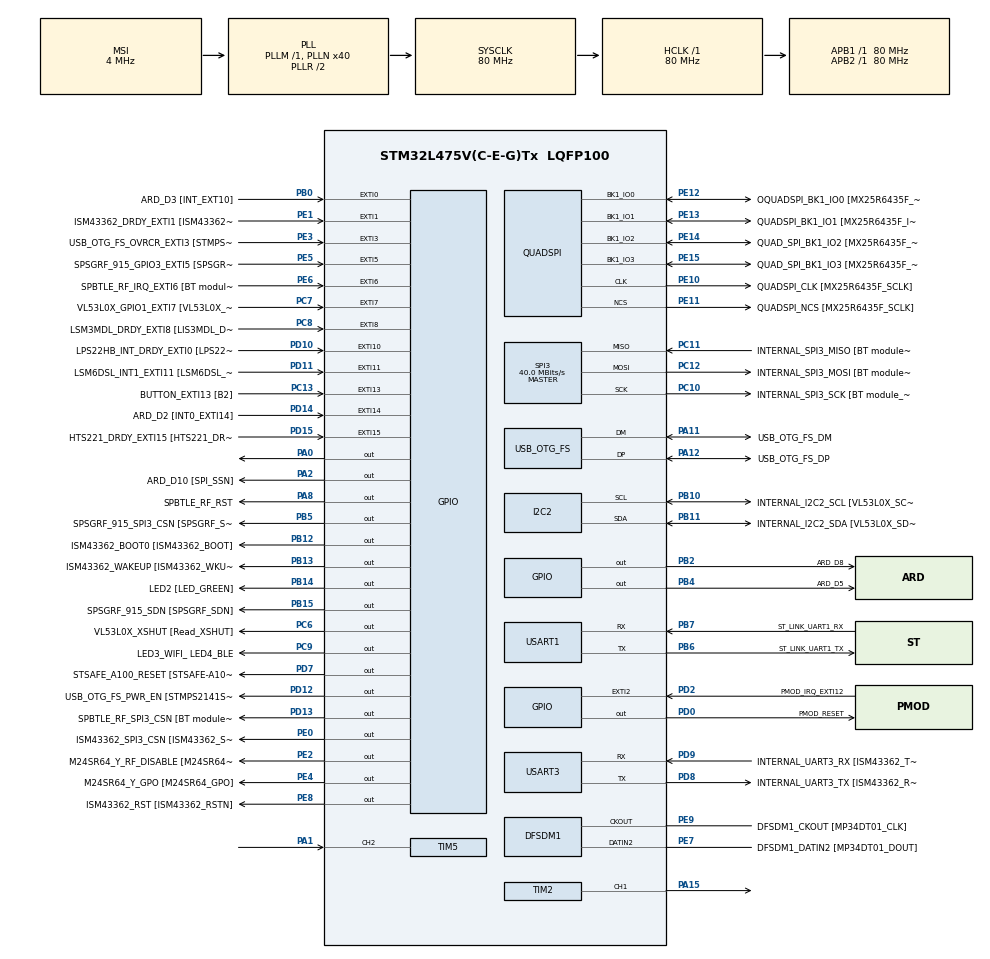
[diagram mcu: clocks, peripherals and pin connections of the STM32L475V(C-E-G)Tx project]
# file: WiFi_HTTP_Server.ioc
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FREERTOS.Tasks01=defaultTask,24,128,StartDefaultTask,Default,NULL,Dynamic,NULL,NULL;myTask02,40,128,StartTask02,Default,NULL,Dynamic,NULL,NULL;myTask03,24,128,StartTask03,Default,NULL,Dynamic,NULL,NULL;myTask04,40,128,StartTask04,Default,NULL,Dynamic,NULL,NULL;myTask05,24,128,StartTask05,Default,NULL,Dynamic,NULL,NULL
FREERTOS.configTOTAL_HEAP_SIZE=10000
Mcu.Family=STM32L4
Mcu.Name=STM32L475V(C-E-G)Tx
Mcu.Package=LQFP100
NVIC.EXTI15_10_IRQn=true\:5\:0\:false\:false\:true\:true\:true\:true\:true
NVIC.EXTI1_IRQn=true\:5\:0\:false\:false\:true\:true\:true\:true\:true
NVIC.EXTI9_5_IRQn=true\:5\:0\:false\:false\:true\:true\:true\:true\:true
NVIC.PriorityGroup=NVIC_PRIORITYGROUP_4
NVIC.TIM1_UP_TIM16_IRQn=true\:5\:0\:false\:false\:true\:true\:true\:true\:true
NVIC.TIM5_IRQn=true\:5\:0\:false\:false\:true\:true\:true\:true\:true
NVIC.TIM6_DAC_IRQn=true\:15\:0\:false\:false\:true\:false\:false\:true\:true
NVIC.TIM7_IRQn=true\:5\:0\:false\:false\:true\:true\:true\:true\:true
NVIC.TimeBase=TIM6_DAC_IRQn
NVIC.TimeBaseIP=TIM6
PA0.Signal=GPIO_Output
PA1.Signal=S_TIM5_CH2
PA10.GPIO_Label=USB_OTG_FS_ID
PA10.Signal=USB_OTG_FS_ID
PA11.GPIO_Label=USB_OTG_FS_DM
PA11.Mode=Device_Only
PA11.Signal=USB_OTG_FS_DM
PA12.GPIO_Label=USB_OTG_FS_DP
PA12.Mode=Device_Only
PA12.Signal=USB_OTG_FS_DP
PA13\ (JTMS-SWDIO).GPIO_Label=SYS_JTMS_SWDIO
PA13\ (JTMS-SWDIO).Mode=Serial_Wire
PA13\ (JTMS-SWDIO).Signal=SYS_JTMS-SWDIO
PA14\ (JTCK-SWCLK).GPIO_Label=SYS_JTCK_SWCLK
PA14\ (JTCK-SWCLK).Mode=Serial_Wire
PA14\ (JTCK-SWCLK).Signal=SYS_JTCK-SWCLK
PA15\ (JTDI).Signal=S_TIM2_CH1
PA2.GPIO_Label=ARD_D10 [SPI_SSN]
PA2.Signal=GPIO_Output
PA3.GPIO_Label=ARD_D4
PA3.Signal=S_TIM2_CH4
PA4.GPIO_Label=ARD_D7
PA4.Signal=ADCx_IN9
PA5.GPIO_Label=ARD_D13 [SPI1_SCK]
PA5.Signal=SPI1_SCK
PA6.GPIO_Label=ARD_D12 [SPI1_MISO]
PA6.Signal=SPI1_MISO
PA7.GPIO_Label=ARD_D11 [SPI1_MOSI]
PA7.Signal=SPI1_MOSI
PA8.GPIO_Label=SPBTLE_RF_RST
PA8.Signal=GPIO_Output
PA9.GPIO_Label=USB_OTG_FS_VBUS [STMPS2141STR_OUT]
PA9.Signal=USB_OTG_FS_VBUS
PB0.GPIO_Label=ARD_D3 [INT_EXT10]
PB0.Signal=GPXTI0
PB1.GPIO_Label=ARD_D6 [ADC1_IN6]
PB1.Signal=ADCx_IN16
PB10.GPIO_Label=INTERNAL_I2C2_SCL [VL53L0X_SCL]
PB10.GPIO_Pu=GPIO_PULLUP
PB10.Mode=I2C
PB10.Signal=I2C2_SCL
PB11.GPIO_Label=INTERNAL_I2C2_SDA [VL53L0X_SDA]
PB11.GPIO_Pu=GPIO_PULLUP
PB11.Mode=I2C
PB11.Signal=I2C2_SDA
PB12.GPIO_Label=ISM43362_BOOT0 [ISM43362_BOOT]
PB12.Signal=GPIO_Output
PB13.GPIO_Label=ISM43362_WAKEUP [ISM43362_WKUP]
PB13.Signal=GPIO_Output
PB14.GPIO_Label=LED2 [LED_GREEN]
PB14.Signal=GPIO_Output
PB15.GPIO_Label=SPSGRF_915_SDN [SPSGRF_SDN]
PB15.Signal=GPIO_Output
PB2.GPIO_Label=ARD_D8
PB2.Signal=GPIO_Output
PB3\ (JTDO-TRACESWO).GPIO_Label=SYS_JTD0_SWO
PB3\ (JTDO-TRACESWO).Signal=SYS_JTDO-SWO
PB4\ (NJTRST).GPIO_Label=ARD_D5
PB4\ (NJTRST).Signal=GPIO_Output
PB5.GPIO_Label=SPSGRF_915_SPI3_CSN [SPSGRF_SPI_CS]
PB5.PinState=GPIO_PIN_SET
PB5.Signal=GPIO_Output
PB6.GPIO_Label=ST_LINK_UART1_TX
PB6.Mode=Asynchronous
PB6.Signal=USART1_TX
PB7.GPIO_Label=ST_LINK_UART1_RX
PB7.Mode=Asynchronous
PB7.Signal=USART1_RX
PB8.GPIO_Label=ARD_D15 [I2C1_SCL]
PB8.Signal=I2C1_SCL
PB9.GPIO_Label=ARD_D14 [I2C1_SDA]
PB9.Signal=I2C1_SDA
PC0.GPIO_Label=ARD_A5 [ADC]
PC0.Signal=ADCx_IN1
PC1.GPIO_Label=ARD_A4 [ADC]
PC1.Signal=ADCx_IN2
PC10.GPIO_Label=INTERNAL_SPI3_SCK [BT module_SPI_SCLK] [ISM43362_SCK]
PC10.Mode=Full_Duplex_Master
PC10.Signal=SPI3_SCK
PC11.GPIO_Label=INTERNAL_SPI3_MISO [BT module_SPI_MISO] [ISM43362_MISO]
PC11.Mode=Full_Duplex_Master
PC11.Signal=SPI3_MISO
PC12.GPIO_Label=INTERNAL_SPI3_MOSI [BT module_SPI_MOSI] [ISM43362_MOSI]
PC12.Mode=Full_Duplex_Master
PC12.Signal=SPI3_MOSI
PC13.GPIO_Label=BUTTON_EXTI13 [B2]
PC13.GPIO_ModeDefaultEXTI=GPIO_MODE_IT_FALLING
PC13.Signal=GPXTI13
PC14-OSC32_IN\ (PC14).Mode=LSE-External-Oscillator
PC14-OSC32_IN\ (PC14).Signal=RCC_OSC32_IN
PC15-OSC32_OUT\ (PC15).Mode=LSE-External-Oscillator
PC15-OSC32_OUT\ (PC15).Signal=RCC_OSC32_OUT
PC2.GPIO_Label=ARD_A3 [ADC]
PC2.Signal=ADCx_IN3
PC3.GPIO_Label=ARD_A2 [ADC]
PC3.Signal=ADCx_IN4
PC4.GPIO_Label=ARD_A1 [ADC]
PC4.Signal=ADCx_IN13
PC5.GPIO_Label=ARD_A0 [ADC]
PC5.Signal=ADCx_IN14
PC6.GPIO_Label=VL53L0X_XSHUT [Read_XSHUT]
PC6.Signal=GPIO_Output
PC7.GPIO_Label=VL53L0X_GPIO1_EXTI7 [VL53L0X_GPIO1]
PC7.Signal=GPXTI7
PC8.GPIO_Label=LSM3MDL_DRDY_EXTI8 [LIS3MDL_DRDY]
PC8.Signal=GPXTI8
PC9.GPIO_Label=LED3_WIFI_ LED4_BLE
PC9.Signal=GPIO_Output
PD0.GPIO_Label=PMOD_RESET
PD0.Signal=GPIO_Output
PD1.GPIO_Label=PMOD_SPI2_SCK
PD1.Signal=SPI2_SCK
PD10.GPIO_Label=LPS22HB_INT_DRDY_EXTI0 [LPS22HB_INT_DRDY] 
PD10.Signal=GPXTI10
PD11.GPIO_Label=LSM6DSL_INT1_EXTI11 [LSM6DSL_INT1]
PD11.Signal=GPXTI11
PD12.GPIO_Label=USB_OTG_FS_PWR_EN [STMPS2141STR_EN]
PD12.Signal=GPIO_Output
PD13.GPIO_Label=SPBTLE_RF_SPI3_CSN [BT module_SPI_CS]
PD13.PinState=GPIO_PIN_SET
PD13.Signal=GPIO_Output
PD14.GPIO_Label=ARD_D2 [INT0_EXTI14]
PD14.Signal=GPXTI14
PD15.GPIO_Label=HTS221_DRDY_EXTI15 [HTS221_DRDY]
PD15.Signal=GPXTI15
PD2.GPIO_Label=PMOD_IRQ_EXTI12
PD2.Signal=GPXTI2
PD3.GPIO_Label=PMOD_UART2_CTS
PD3.Signal=USART2_CTS
PD4.GPIO_Label=PMOD_UART2_RTS
PD4.Signal=USART2_RTS
PD5.GPIO_Label=PMOD_UART2_TX
PD5.Signal=USART2_TX
PD6.GPIO_Label=PMOD_UART2_RX
PD6.Signal=USART2_RX
PD7.GPIO_Label=STSAFE_A100_RESET [STSAFE-A100_RESET]
PD7.Signal=GPIO_Output
PD8.GPIO_Label=INTERNAL_UART3_TX [ISM43362_RX]
PD8.Mode=Asynchronous
PD8.Signal=USART3_TX
PD9.GPIO_Label=INTERNAL_UART3_RX [ISM43362_TX]
PD9.Mode=Asynchronous
PD9.Signal=USART3_RX
PE0.GPIO_Label=ISM43362_SPI3_CSN [ISM43362_SSN]
PE0.PinState=GPIO_PIN_SET
PE0.Signal=GPIO_Output
PE1.GPIO_Label=ISM43362_DRDY_EXTI1 [ISM43362_DATARDY]
PE1.Signal=GPXTI1
PE10.GPIO_Label=QUADSPI_CLK [MX25R6435F_SCLK]
PE10.Mode=Single Bank
PE10.Signal=QUADSPI_CLK
PE11.GPIO_Label=QUADSPI_NCS [MX25R6435F_SCLK]
PE11.Mode=Single Bank
PE11.Signal=QUADSPI_NCS
PE12.GPIO_Label=OQUADSPI_BK1_IO0 [MX25R6435F_IO0]
PE12.Mode=Single Bank
PE12.Signal=QUADSPI_BK1_IO0
PE13.GPIO_Label=QUADSPI_BK1_IO1 [MX25R6435F_IO1]
PE13.Mode=Single Bank
PE13.Signal=QUADSPI_BK1_IO1
PE14.GPIO_Label=QUAD_SPI_BK1_IO2 [MX25R6435F_IO2]
PE14.Mode=Single Bank
PE14.Signal=QUADSPI_BK1_IO2
PE15.GPIO_Label=QUAD_SPI_BK1_IO3 [MX25R6435F_IO3]
PE15.Mode=Single Bank
PE15.Signal=QUADSPI_BK1_IO3
PE2.GPIO_Label=M24SR64_Y_RF_DISABLE [M24SR64_RFDIS]
PE2.Signal=GPIO_Output
PE3.GPIO_Label=USB_OTG_FS_OVRCR_EXTI3 [STMPS2141STR_FAULT]
PE3.Signal=GPXTI3
PE4.GPIO_Label=M24SR64_Y_GPO [M24SR64_GPO]
PE4.Signal=GPIO_Output
PE5.GPIO_Label=SPSGRF_915_GPIO3_EXTI5 [SPSGRF_GPIO_3]
PE5.Signal=GPXTI5
PE6.GPIO_Label=SPBTLE_RF_IRQ_EXTI6 [BT module_SPI_IRQ]
PE6.Signal=GPXTI6
PE7.GPIO_Label=DFSDM1_DATIN2 [MP34DT01_DOUT]
PE7.Signal=S_DATAIN2DFSDM1
PE8.GPIO_Label=ISM43362_RST [ISM43362_RSTN]
PE8.Signal=GPIO_Output
PE9.GPIO_Label=DFSDM1_CKOUT [MP34DT01_CLK]
PE9.Signal=S_CKOUTDFSDM1
ProjectManager.HeapSize=0x200
ProjectManager.StackSize=0x400
ProjectManager.TargetToolchain=STM32CubeIDE
QUADSPI.ClockPrescaler=2
QUADSPI.FifoThreshold=4
QUADSPI.FlashSize=23
QUADSPI.SampleShifting=QSPI_SAMPLE_SHIFTING_HALFCYCLE
RCC.ADCFreq_Value=48000000
RCC.AHBFreq_Value=80000000
RCC.APB1Freq_Value=80000000
RCC.APB1TimFreq_Value=80000000
RCC.APB2Freq_Value=80000000
RCC.APB2TimFreq_Value=80000000
RCC.CortexFreq_Value=80000000
RCC.HCLKFreq_Value=80000000
RCC.HSE_VALUE=8000000
RCC.HSI_VALUE=16000000
RCC.MSI_VALUE=4000000
RCC.PLLN=40
RCC.PLLSAI1N=24
RCC.SYSCLKFreq_VALUE=80000000
RCC.SYSCLKSource=RCC_SYSCLKSOURCE_PLLCLK
RCC.USBFreq_Value=48000000
RCC.VCOOutputFreq_Value=160000000
SH.ADCx_IN1.0=ADC1_IN1
SH.ADCx_IN13.0=ADC1_IN13
SH.ADCx_IN14.0=ADC1_IN14
SH.ADCx_IN16.0=ADC1_IN16
SH.ADCx_IN2.0=ADC1_IN2
SH.ADCx_IN3.0=ADC1_IN3
SH.ADCx_IN4.0=ADC1_IN4
SH.ADCx_IN9.0=ADC1_IN9
SH.S_CKOUTDFSDM1.0=DFSDM1_CKOUT,CKOUT
SH.S_CKOUTDFSDM1.1=DFSDM1_CKOUT,PDM_SPI_Input_from_ch12_and_Internal_Clock
SH.S_DATAIN2DFSDM1.0=DFSDM1_DATIN2,PDM_SPI_Input_from_ch12_and_Internal_Clock
SH.S_TIM2_CH1.0=TIM2_CH1,PWM Generation1 CH1
SH.S_TIM2_CH4.0=TIM2_CH4
SH.S_TIM5_CH2.0=TIM5_CH2,Input_Capture2_from_TI2
SPI3.CalculateBaudRate=40.0 MBits/s
SPI3.Direction=SPI_DIRECTION_2LINES
SPI3.Mode=SPI_MODE_MASTER
SPI3.VirtualType=VM_MASTER
TIM16.Period=9999
TIM16.Prescaler=10000
TIM2.AutoReloadPreload=TIM_AUTORELOAD_PRELOAD_ENABLE
TIM2.Channel-PWM\ Generation1\ CH1=TIM_CHANNEL_1
TIM2.Period=255
TIM2.Prescaler=250
TIM2.Pulse-PWM\ Generation1\ CH1=127
TIM5.Channel-Input_Capture2_from_TI2=TIM_CHANNEL_2
TIM5.Period=0xffff-1
TIM5.Prescaler=71
TIM7.Period=49999
TIM7.Prescaler=7999
USART1.VirtualMode-Asynchronous=VM_ASYNC
USART3.VirtualMode-Asynchronous=VM_ASYNC
USB_OTG_FS.VirtualMode=Device_Only
VP_FREERTOS_VS_CMSIS_V2.Mode=CMSIS_V2
VP_SYS_VS_tim6.Mode=TIM6
VP_TIM16_VS_ClockSourceINT.Mode=Enable_Timer
VP_TIM2_VS_ClockSourceINT.Mode=Internal
VP_TIM7_VS_ClockSourceINT.Mode=Enable_Timer
board=B-L475E-IOT01A1

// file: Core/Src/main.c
/* USER CODE BEGIN Header */
/**
  ******************************************************************************
  * @file           : main.c
  * @brief          : Main program body
  ******************************************************************************
  * @attention
  *
  * Copyright (c) 2025 STMicroelectronics.
  * All rights reserved.
  *
  * This software is licensed under terms that can be found in the LICENSE file
  * in the root directory of this software component.
  * If no LICENSE file comes with this software, it is provided AS-IS.
  *
  ******************************************************************************
  */
/* USER CODE END Header */
#include "main.h"
#include "cmsis_os.h"

/* USER CODE BEGIN Includes */
#include "FreeRTOS.h"
#include "task.h"
#include "timers.h"
#include "queue.h"
#include "semphr.h"
#include "event_groups.h"
#include <stdio.h>
#include <string.h>
#include <stdbool.h>
#include <stdlib.h>
/* USER CODE END Includes */

/* USER CODE BEGIN PD */
#define FLAG1 (1U << 0)
#define FLAG2 (2U << 0)
#define FLAG3 (3U << 0)
#define FLAG4 (4U << 0)
/* USER CODE END PD */

DFSDM_Channel_HandleTypeDef hdfsdm1_channel1;

I2C_HandleTypeDef hi2c2;

QSPI_HandleTypeDef hqspi;

SPI_HandleTypeDef hspi3;

TIM_HandleTypeDef htim2;
TIM_HandleTypeDef htim5;
TIM_HandleTypeDef htim7;
TIM_HandleTypeDef htim16;

UART_HandleTypeDef huart1;
UART_HandleTypeDef huart3;

PCD_HandleTypeDef hpcd_USB_OTG_FS;

/* USER CODE BEGIN PV */
/* Definitions for defaultTask */
osThreadId_t defaultTaskHandle;
const osThreadAttr_t defaultTask_attributes = {
  .name = "defaultTask",
  .stack_size = 128 * 4,
  .priority = (osPriority_t) osPriorityNormal,
};
/* Definitions for myTask02 */
osThreadId_t myTask02Handle;
const osThreadAttr_t myTask02_attributes = {
  .name = "myTask02",
  .stack_size = 128 * 4,
  .priority = (osPriority_t) osPriorityHigh,
};
/* Definitions for myTask03 */
osThreadId_t myTask03Handle;
const osThreadAttr_t myTask03_attributes = {
  .name = "myTask03",
  .stack_size = 128 * 4,
  .priority = (osPriority_t) osPriorityNormal,
};
/* Definitions for myTask04 */
osThreadId_t myTask04Handle;
const osThreadAttr_t myTask04_attributes = {
  .name = "myTask04",
  .stack_size = 128 * 4,
  .priority = (osPriority_t) osPriorityNormal,
};
/* USER CODE END PV */

void SystemClock_Config(void);
static void MX_GPIO_Init(void);
static void MX_DFSDM1_Init(void);
static void MX_I2C2_Init(void);
static void MX_QUADSPI_Init(void);
static void MX_SPI3_Init(void);
static void MX_USART1_UART_Init(void);
static void MX_USART3_UART_Init(void);
static void MX_USB_OTG_FS_PCD_Init(void);
static void MX_TIM2_Init(void);
static void MX_TIM5_Init(void);
static void MX_TIM16_Init(void);
static void MX_TIM7_Init(void);
void StartDefaultTask(void *argument);
void StartTask02(void *argument);
void StartTask03(void *argument);
void StartTask04(void *argument);

/* USER CODE BEGIN 0 */
/* Update SSID and PASSWORD with own Access point settings */

#define SSID     "****"
#define PASSWORD "*****"

//#define SSID     "thotdog"
//#define PASSWORD "Water101"
#define PORT           80

#define TERMINAL_USE

#define WIFI_WRITE_TIMEOUT 10000
#define WIFI_READ_TIMEOUT  10000
#define SOCKET                 0

#ifdef  TERMINAL_USE
#define LOG(a) printf a
#else
#define LOG(a)
#endif

static uint8_t http[1024];
static uint8_t IP_Addr[4];

uint8_t sseClientId = 0;
volatile uint32_t state = 0;
volatile uint32_t timed_out = 0;

uint32_t IC_Val1 = 0;
uint32_t IC_Val2 = 0;
uint32_t Difference = 0;
uint8_t Is_First_Captured = 0;
uint8_t Distance  = 0;

TimerHandle_t xAutoReloadTimer;
TimerHandle_t xTimeoutTimer;
SemaphoreHandle_t sem;
SemaphoreHandle_t sem1;
BaseType_t xHigherPriorityTaskWoken = pdFALSE;

uint8_t sleeping[] = "Sleeping\r\n";
uint8_t wakeup[] = "Waking up\r\n";

#if defined (TERMINAL_USE)
#ifdef __GNUC__
/* With GCC, small printf (option LD Linker->Libraries->Small printf
set to 'Yes') calls __io_putchar() */
#define PUTCHAR_PROTOTYPE int __io_putchar(int ch)
#else
#define PUTCHAR_PROTOTYPE int fputc(int ch, FILE *f)
#endif /* __GNUC__ */
#endif /* TERMINAL_USE */
//static void SystemClock_Config(void);
static WIFI_Status_t SendWebPage(uint32_t state);
//static int wifi_server(void);
static int wifi_start(void);
static int wifi_connect(void);
static bool WebServerProcess(void);

void HAL_TIM_IC_CaptureCallback(TIM_HandleTypeDef *htim)
{
	if (htim->Channel == HAL_TIM_ACTIVE_CHANNEL_2)  // if the interrupt source is channel1
	{
		if (Is_First_Captured==0)
		{
			IC_Val1 = HAL_TIM_ReadCapturedValue(htim, TIM_CHANNEL_2); //First value
			Is_First_Captured = 1;  //First capture
			// Capture at falling edge next time
			__HAL_TIM_SET_CAPTUREPOLARITY(htim, TIM_CHANNEL_2, TIM_INPUTCHANNELPOLARITY_FALLING);
		}

		else if (Is_First_Captured==1)
		{
			IC_Val2 = HAL_TIM_ReadCapturedValue(htim, TIM_CHANNEL_2);  //Second value
			__HAL_TIM_SET_COUNTER(htim, 0);  // reset the counter

			if (IC_Val2 > IC_Val1)
			{
				Difference = IC_Val2-IC_Val1;
			}

			else if (IC_Val1 > IC_Val2)
			{
				Difference = (0xffff - IC_Val1) + IC_Val2;
			}

			Distance = Difference * .034/2;
			Is_First_Captured = 0; //Reset capture count

			// Capture at rising edge next time
			__HAL_TIM_SET_CAPTUREPOLARITY(htim, TIM_CHANNEL_2, TIM_INPUTCHANNELPOLARITY_RISING);
			__HAL_TIM_DISABLE_IT(&htim5, TIM_IT_CC1);

			osThreadFlagsSet(myTask04Handle, FLAG2);
		}
	}
}

void SendSSEUpdate(void)
{
    if(sseClientId == 0) return; // no client connected

    uint16_t sent;
    char msg[32];

    // Format as SSE message
    snprintf(msg, sizeof(msg), "data: %s\n\n", (state) ? "Armed" : "Disarmed");

    WIFI_SendData(sseClientId, (uint8_t*)msg, strlen(msg), &sent, WIFI_WRITE_TIMEOUT);
}

/* USER CODE END 0 */

int main(void)
{

  /* MCU Configuration--------------------------------------------------------*/

  /* Reset of all peripherals, Initializes the Flash interface and the Systick. */
  HAL_Init();

  /* Configure the system clock */
  SystemClock_Config();

  /* Initialize all configured peripherals */
  MX_GPIO_Init();
  MX_DFSDM1_Init();
  MX_I2C2_Init();
  MX_QUADSPI_Init();
  MX_SPI3_Init();
  MX_USART1_UART_Init();
  MX_USART3_UART_Init();
  MX_USB_OTG_FS_PCD_Init();
  MX_TIM2_Init();
  MX_TIM5_Init();
  MX_TIM16_Init();
  MX_TIM7_Init();
  /* USER CODE BEGIN 2 */

  HAL_NVIC_SetPriority(EXTI15_10_IRQn, 4, 0);
  HAL_NVIC_EnableIRQ(EXTI15_10_IRQn);
  HAL_TIM_IC_Start_IT(&htim5, TIM_CHANNEL_2);
  /* USER CODE END 2 */

  /* Init scheduler */
  osKernelInitialize();

  /* Create the thread(s) */
  /* creation of defaultTask */
  defaultTaskHandle = osThreadNew(StartDefaultTask, NULL, &defaultTask_attributes);

  /* creation of myTask02 */
  myTask02Handle = osThreadNew(StartTask02, NULL, &myTask02_attributes);

  /* creation of myTask03 */
  myTask03Handle = osThreadNew(StartTask03, NULL, &myTask03_attributes);

  /* creation of myTask04 */
  myTask04Handle = osThreadNew(StartTask04, NULL, &myTask04_attributes);

  /* Start scheduler */
  osKernelStart();

  /* We should never get here as control is now taken by the scheduler */

  /* Infinite loop */
  while (1)
  {

  }
}

void SystemClock_Config(void)
{
  RCC_OscInitTypeDef RCC_OscInitStruct = {0};
  RCC_ClkInitTypeDef RCC_ClkInitStruct = {0};

  /** Configure the main internal regulator output voltage
  */
  if (HAL_PWREx_ControlVoltageScaling(PWR_REGULATOR_VOLTAGE_SCALE1) != HAL_OK)
  {
    Error_Handler();
  }

  /** Configure LSE Drive Capability
  */
  HAL_PWR_EnableBkUpAccess();
  __HAL_RCC_LSEDRIVE_CONFIG(RCC_LSEDRIVE_LOW);

  /** Initializes the RCC Oscillators according to the specified parameters
  * in the RCC_OscInitTypeDef structure.
  */
  RCC_OscInitStruct.OscillatorType = RCC_OSCILLATORTYPE_LSE|RCC_OSCILLATORTYPE_MSI;
  RCC_OscInitStruct.LSEState = RCC_LSE_ON;
  RCC_OscInitStruct.MSIState = RCC_MSI_ON;
  RCC_OscInitStruct.MSICalibrationValue = 0;
  RCC_OscInitStruct.MSIClockRange = RCC_MSIRANGE_6;
  RCC_OscInitStruct.PLL.PLLState = RCC_PLL_ON;
  RCC_OscInitStruct.PLL.PLLSource = RCC_PLLSOURCE_MSI;
  RCC_OscInitStruct.PLL.PLLM = 1;
  RCC_OscInitStruct.PLL.PLLN = 40;
  RCC_OscInitStruct.PLL.PLLP = RCC_PLLP_DIV7;
  RCC_OscInitStruct.PLL.PLLQ = RCC_PLLQ_DIV2;
  RCC_OscInitStruct.PLL.PLLR = RCC_PLLR_DIV2;
  if (HAL_RCC_OscConfig(&RCC_OscInitStruct) != HAL_OK)
  {
    Error_Handler();
  }

  /** Initializes the CPU, AHB and APB buses clocks
  */
  RCC_ClkInitStruct.ClockType = RCC_CLOCKTYPE_HCLK|RCC_CLOCKTYPE_SYSCLK
                              |RCC_CLOCKTYPE_PCLK1|RCC_CLOCKTYPE_PCLK2;
  RCC_ClkInitStruct.SYSCLKSource = RCC_SYSCLKSOURCE_PLLCLK;
  RCC_ClkInitStruct.AHBCLKDivider = RCC_SYSCLK_DIV1;
  RCC_ClkInitStruct.APB1CLKDivider = RCC_HCLK_DIV1;
  RCC_ClkInitStruct.APB2CLKDivider = RCC_HCLK_DIV1;

  if (HAL_RCC_ClockConfig(&RCC_ClkInitStruct, FLASH_LATENCY_4) != HAL_OK)
  {
    Error_Handler();
  }

  /** Enable MSI Auto calibration
  */
  HAL_RCCEx_EnableMSIPLLMode();
}

static void MX_DFSDM1_Init(void)
{

  hdfsdm1_channel1.Instance = DFSDM1_Channel1;
  hdfsdm1_channel1.Init.OutputClock.Activation = ENABLE;
  hdfsdm1_channel1.Init.OutputClock.Selection = DFSDM_CHANNEL_OUTPUT_CLOCK_SYSTEM;
  hdfsdm1_channel1.Init.OutputClock.Divider = 2;
  hdfsdm1_channel1.Init.Input.Multiplexer = DFSDM_CHANNEL_EXTERNAL_INPUTS;
  hdfsdm1_channel1.Init.Input.DataPacking = DFSDM_CHANNEL_STANDARD_MODE;
  hdfsdm1_channel1.Init.Input.Pins = DFSDM_CHANNEL_FOLLOWING_CHANNEL_PINS;
  hdfsdm1_channel1.Init.SerialInterface.Type = DFSDM_CHANNEL_SPI_RISING;
  hdfsdm1_channel1.Init.SerialInterface.SpiClock = DFSDM_CHANNEL_SPI_CLOCK_INTERNAL;
  hdfsdm1_channel1.Init.Awd.FilterOrder = DFSDM_CHANNEL_FASTSINC_ORDER;
  hdfsdm1_channel1.Init.Awd.Oversampling = 1;
  hdfsdm1_channel1.Init.Offset = 0;
  hdfsdm1_channel1.Init.RightBitShift = 0x00;
  if (HAL_DFSDM_ChannelInit(&hdfsdm1_channel1) != HAL_OK)
  {
    Error_Handler();
  }

}

static void MX_I2C2_Init(void)
{

  hi2c2.Instance = I2C2;
  hi2c2.Init.Timing = 0x00000E14;
  hi2c2.Init.OwnAddress1 = 0;
  hi2c2.Init.AddressingMode = I2C_ADDRESSINGMODE_7BIT;
  hi2c2.Init.DualAddressMode = I2C_DUALADDRESS_DISABLE;
  hi2c2.Init.OwnAddress2 = 0;
  hi2c2.Init.OwnAddress2Masks = I2C_OA2_NOMASK;
  hi2c2.Init.GeneralCallMode = I2C_GENERALCALL_DISABLE;
  hi2c2.Init.NoStretchMode = I2C_NOSTRETCH_DISABLE;
  if (HAL_I2C_Init(&hi2c2) != HAL_OK)
  {
    Error_Handler();
  }

  /** Configure Analogue filter
  */
  if (HAL_I2CEx_ConfigAnalogFilter(&hi2c2, I2C_ANALOGFILTER_ENABLE) != HAL_OK)
  {
    Error_Handler();
  }

  /** Configure Digital filter
  */
  if (HAL_I2CEx_ConfigDigitalFilter(&hi2c2, 0) != HAL_OK)
  {
    Error_Handler();
  }

}

static void MX_QUADSPI_Init(void)
{

  /* QUADSPI parameter configuration*/
  hqspi.Instance = QUADSPI;
  hqspi.Init.ClockPrescaler = 2;
  hqspi.Init.FifoThreshold = 4;
  hqspi.Init.SampleShifting = QSPI_SAMPLE_SHIFTING_HALFCYCLE;
  hqspi.Init.FlashSize = 23;
  hqspi.Init.ChipSelectHighTime = QSPI_CS_HIGH_TIME_1_CYCLE;
  hqspi.Init.ClockMode = QSPI_CLOCK_MODE_0;
  if (HAL_QSPI_Init(&hqspi) != HAL_OK)
  {
    Error_Handler();
  }

}

static void MX_SPI3_Init(void)
{

  /* SPI3 parameter configuration*/
  hspi3.Instance = SPI3;
  hspi3.Init.Mode = SPI_MODE_MASTER;
  hspi3.Init.Direction = SPI_DIRECTION_2LINES;
  hspi3.Init.DataSize = SPI_DATASIZE_4BIT;
  hspi3.Init.CLKPolarity = SPI_POLARITY_LOW;
  hspi3.Init.CLKPhase = SPI_PHASE_1EDGE;
  hspi3.Init.NSS = SPI_NSS_SOFT;
  hspi3.Init.BaudRatePrescaler = SPI_BAUDRATEPRESCALER_2;
  hspi3.Init.FirstBit = SPI_FIRSTBIT_MSB;
  hspi3.Init.TIMode = SPI_TIMODE_DISABLE;
  hspi3.Init.CRCCalculation = SPI_CRCCALCULATION_DISABLE;
  hspi3.Init.CRCPolynomial = 7;
  hspi3.Init.CRCLength = SPI_CRC_LENGTH_DATASIZE;
  hspi3.Init.NSSPMode = SPI_NSS_PULSE_ENABLE;
  if (HAL_SPI_Init(&hspi3) != HAL_OK)
  {
    Error_Handler();
  }

}

static void MX_TIM2_Init(void)
{

  TIM_ClockConfigTypeDef sClockSourceConfig = {0};
  TIM_MasterConfigTypeDef sMasterConfig = {0};
  TIM_OC_InitTypeDef sConfigOC = {0};

  htim2.Instance = TIM2;
  htim2.Init.Prescaler = 250;
  htim2.Init.CounterMode = TIM_COUNTERMODE_UP;
  htim2.Init.Period = 255;
  htim2.Init.ClockDivision = TIM_CLOCKDIVISION_DIV1;
  htim2.Init.AutoReloadPreload = TIM_AUTORELOAD_PRELOAD_ENABLE;
  if (HAL_TIM_Base_Init(&htim2) != HAL_OK)
  {
    Error_Handler();
  }
  sClockSourceConfig.ClockSource = TIM_CLOCKSOURCE_INTERNAL;
  if (HAL_TIM_ConfigClockSource(&htim2, &sClockSourceConfig) != HAL_OK)
  {
    Error_Handler();
  }
  if (HAL_TIM_PWM_Init(&htim2) != HAL_OK)
  {
    Error_Handler();
  }
  sMasterConfig.MasterOutputTrigger = TIM_TRGO_RESET;
  sMasterConfig.MasterSlaveMode = TIM_MASTERSLAVEMODE_DISABLE;
  if (HAL_TIMEx_MasterConfigSynchronization(&htim2, &sMasterConfig) != HAL_OK)
  {
    Error_Handler();
  }
  sConfigOC.OCMode = TIM_OCMODE_PWM1;
  sConfigOC.Pulse = 127;
  sConfigOC.OCPolarity = TIM_OCPOLARITY_HIGH;
  sConfigOC.OCFastMode = TIM_OCFAST_DISABLE;
  if (HAL_TIM_PWM_ConfigChannel(&htim2, &sConfigOC, TIM_CHANNEL_1) != HAL_OK)
  {
    Error_Handler();
  }
  HAL_TIM_MspPostInit(&htim2);

}

static void MX_TIM5_Init(void)
{

  TIM_MasterConfigTypeDef sMasterConfig = {0};
  TIM_IC_InitTypeDef sConfigIC = {0};

  htim5.Instance = TIM5;
  htim5.Init.Prescaler = 71;
  htim5.Init.CounterMode = TIM_COUNTERMODE_UP;
  htim5.Init.Period = 0xffff-1;
  htim5.Init.ClockDivision = TIM_CLOCKDIVISION_DIV1;
  htim5.Init.AutoReloadPreload = TIM_AUTORELOAD_PRELOAD_DISABLE;
  if (HAL_TIM_IC_Init(&htim5) != HAL_OK)
  {
    Error_Handler();
  }
  sMasterConfig.MasterOutputTrigger = TIM_TRGO_RESET;
  sMasterConfig.MasterSlaveMode = TIM_MASTERSLAVEMODE_DISABLE;
  if (HAL_TIMEx_MasterConfigSynchronization(&htim5, &sMasterConfig) != HAL_OK)
  {
    Error_Handler();
  }
  sConfigIC.ICPolarity = TIM_INPUTCHANNELPOLARITY_RISING;
  sConfigIC.ICSelection = TIM_ICSELECTION_DIRECTTI;
  sConfigIC.ICPrescaler = TIM_ICPSC_DIV1;
  sConfigIC.ICFilter = 0;
  if (HAL_TIM_IC_ConfigChannel(&htim5, &sConfigIC, TIM_CHANNEL_2) != HAL_OK)
  {
    Error_Handler();
  }

}

/**
  * @brief  Initialization Function
  * @param None
  * @retval None
  */
static void MX_TIM7_Init(void)
{

  TIM_MasterConfigTypeDef sMasterConfig = {0};

  htim7.Instance = TIM7;
  htim7.Init.Prescaler = 7999;
  htim7.Init.CounterMode = TIM_COUNTERMODE_UP;
  htim7.Init.Period = 49999;
  htim7.Init.AutoReloadPreload = TIM_AUTORELOAD_PRELOAD_DISABLE;
  if (HAL_TIM_Base_Init(&htim7) != HAL_OK)
  {
    Error_Handler();
  }
  sMasterConfig.MasterOutputTrigger = TIM_TRGO_RESET;
  sMasterConfig.MasterSlaveMode = TIM_MASTERSLAVEMODE_DISABLE;
  if (HAL_TIMEx_MasterConfigSynchronization(&htim7, &sMasterConfig) != HAL_OK)
  {
    Error_Handler();
  }

}

static void MX_TIM16_Init(void)
{

  htim16.Instance = TIM16;
  htim16.Init.Prescaler = 10000;
  htim16.Init.CounterMode = TIM_COUNTERMODE_UP;
  htim16.Init.Period = 9999;
  htim16.Init.ClockDivision = TIM_CLOCKDIVISION_DIV1;
  htim16.Init.RepetitionCounter = 0;
  htim16.Init.AutoReloadPreload = TIM_AUTORELOAD_PRELOAD_DISABLE;
  if (HAL_TIM_Base_Init(&htim16) != HAL_OK)
  {
    Error_Handler();
  }

}

static void MX_USART1_UART_Init(void)
{

  huart1.Instance = USART1;
  huart1.Init.BaudRate = 115200;
  huart1.Init.WordLength = UART_WORDLENGTH_8B;
  huart1.Init.StopBits = UART_STOPBITS_1;
  huart1.Init.Parity = UART_PARITY_NONE;
  huart1.Init.Mode = UART_MODE_TX_RX;
  huart1.Init.HwFlowCtl = UART_HWCONTROL_NONE;
  huart1.Init.OverSampling = UART_OVERSAMPLING_16;
  huart1.Init.OneBitSampling = UART_ONE_BIT_SAMPLE_DISABLE;
  huart1.AdvancedInit.AdvFeatureInit = UART_ADVFEATURE_NO_INIT;
  if (HAL_UART_Init(&huart1) != HAL_OK)
  {
    Error_Handler();
  }

}

static void MX_USART3_UART_Init(void)
{

  huart3.Instance = USART3;
  huart3.Init.BaudRate = 115200;
  huart3.Init.WordLength = UART_WORDLENGTH_8B;
  huart3.Init.StopBits = UART_STOPBITS_1;
  huart3.Init.Parity = UART_PARITY_NONE;
  huart3.Init.Mode = UART_MODE_TX_RX;
  huart3.Init.HwFlowCtl = UART_HWCONTROL_NONE;
  huart3.Init.OverSampling = UART_OVERSAMPLING_16;
  huart3.Init.OneBitSampling = UART_ONE_BIT_SAMPLE_DISABLE;
  huart3.AdvancedInit.AdvFeatureInit = UART_ADVFEATURE_NO_INIT;
  if (HAL_UART_Init(&huart3) != HAL_OK)
  {
    Error_Handler();
  }

}

static void MX_USB_OTG_FS_PCD_Init(void)
{

  hpcd_USB_OTG_FS.Instance = USB_OTG_FS;
  hpcd_USB_OTG_FS.Init.dev_endpoints = 6;
  hpcd_USB_OTG_FS.Init.speed = PCD_SPEED_FULL;
  hpcd_USB_OTG_FS.Init.phy_itface = PCD_PHY_EMBEDDED;
  hpcd_USB_OTG_FS.Init.Sof_enable = DISABLE;
  hpcd_USB_OTG_FS.Init.low_power_enable = DISABLE;
  hpcd_USB_OTG_FS.Init.lpm_enable = DISABLE;
  hpcd_USB_OTG_FS.Init.battery_charging_enable = DISABLE;
  hpcd_USB_OTG_FS.Init.use_dedicated_ep1 = DISABLE;
  hpcd_USB_OTG_FS.Init.vbus_sensing_enable = DISABLE;
  if (HAL_PCD_Init(&hpcd_USB_OTG_FS) != HAL_OK)
  {
    Error_Handler();
  }

}

static void MX_GPIO_Init(void)
{
  GPIO_InitTypeDef GPIO_InitStruct = {0};

  /* GPIO Ports Clock Enable */
  __HAL_RCC_GPIOE_CLK_ENABLE();
  __HAL_RCC_GPIOC_CLK_ENABLE();
  __HAL_RCC_GPIOA_CLK_ENABLE();
  __HAL_RCC_GPIOB_CLK_ENABLE();
  __HAL_RCC_GPIOD_CLK_ENABLE();

  /*Configure GPIO pin Output Level */
  HAL_GPIO_WritePin(GPIOE, M24SR64_Y_RF_DISABLE_Pin|M24SR64_Y_GPO_Pin|ISM43362_RST_Pin, GPIO_PIN_RESET);

  /*Configure GPIO pin Output Level */
  HAL_GPIO_WritePin(GPIOA, GPIO_PIN_0|ARD_D10_Pin|SPBTLE_RF_RST_Pin, GPIO_PIN_RESET);

  /*Configure GPIO pin Output Level */
  HAL_GPIO_WritePin(GPIOB, ARD_D8_Pin|ISM43362_BOOT0_Pin|ISM43362_WAKEUP_Pin|LED2_Pin
                          |SPSGRF_915_SDN_Pin|ARD_D5_Pin, GPIO_PIN_RESET);

  /*Configure GPIO pin Output Level */
  HAL_GPIO_WritePin(GPIOD, USB_OTG_FS_PWR_EN_Pin|PMOD_RESET_Pin|STSAFE_A100_RESET_Pin, GPIO_PIN_RESET);

  /*Configure GPIO pin Output Level */
  HAL_GPIO_WritePin(SPBTLE_RF_SPI3_CSN_GPIO_Port, SPBTLE_RF_SPI3_CSN_Pin, GPIO_PIN_SET);

  /*Configure GPIO pin Output Level */
  HAL_GPIO_WritePin(GPIOC, VL53L0X_XSHUT_Pin|LED3_WIFI__LED4_BLE_Pin, GPIO_PIN_RESET);

  /*Configure GPIO pin Output Level */
  HAL_GPIO_WritePin(SPSGRF_915_SPI3_CSN_GPIO_Port, SPSGRF_915_SPI3_CSN_Pin, GPIO_PIN_SET);

  /*Configure GPIO pin Output Level */
  HAL_GPIO_WritePin(ISM43362_SPI3_CSN_GPIO_Port, ISM43362_SPI3_CSN_Pin, GPIO_PIN_SET);

  /*Configure GPIO pins : M24SR64_Y_RF_DISABLE_Pin M24SR64_Y_GPO_Pin ISM43362_RST_Pin ISM43362_SPI3_CSN_Pin */
  GPIO_InitStruct.Pin = M24SR64_Y_RF_DISABLE_Pin|M24SR64_Y_GPO_Pin|ISM43362_RST_Pin|ISM43362_SPI3_CSN_Pin;
  GPIO_InitStruct.Mode = GPIO_MODE_OUTPUT_PP;
  GPIO_InitStruct.Pull = GPIO_NOPULL;
  GPIO_InitStruct.Speed = GPIO_SPEED_FREQ_LOW;
  HAL_GPIO_Init(GPIOE, &GPIO_InitStruct);

  /*Configure GPIO pins : USB_OTG_FS_OVRCR_EXTI3_Pin SPSGRF_915_GPIO3_EXTI5_Pin SPBTLE_RF_IRQ_EXTI6_Pin ISM43362_DRDY_EXTI1_Pin */
  GPIO_InitStruct.Pin = USB_OTG_FS_OVRCR_EXTI3_Pin|SPSGRF_915_GPIO3_EXTI5_Pin|SPBTLE_RF_IRQ_EXTI6_Pin|ISM43362_DRDY_EXTI1_Pin;
  GPIO_InitStruct.Mode = GPIO_MODE_IT_RISING;
  GPIO_InitStruct.Pull = GPIO_NOPULL;
  HAL_GPIO_Init(GPIOE, &GPIO_InitStruct);

  /*Configure GPIO pin : BUTTON_EXTI13_Pin */
  GPIO_InitStruct.Pin = BUTTON_EXTI13_Pin;
  GPIO_InitStruct.Mode = GPIO_MODE_IT_FALLING;
  GPIO_InitStruct.Pull = GPIO_NOPULL;
  HAL_GPIO_Init(BUTTON_EXTI13_GPIO_Port, &GPIO_InitStruct);

  /*Configure GPIO pins : ARD_A5_Pin ARD_A4_Pin ARD_A3_Pin ARD_A2_Pin
                           ARD_A1_Pin ARD_A0_Pin */
  GPIO_InitStruct.Pin = ARD_A5_Pin|ARD_A4_Pin|ARD_A3_Pin|ARD_A2_Pin
                          |ARD_A1_Pin|ARD_A0_Pin;
  GPIO_InitStruct.Mode = GPIO_MODE_ANALOG_ADC_CONTROL;
  GPIO_InitStruct.Pull = GPIO_NOPULL;
  HAL_GPIO_Init(GPIOC, &GPIO_InitStruct);

  /*Configure GPIO pins : PA0 ARD_D10_Pin SPBTLE_RF_RST_Pin */
  GPIO_InitStruct.Pin = GPIO_PIN_0|ARD_D10_Pin|SPBTLE_RF_RST_Pin;
  GPIO_InitStruct.Mode = GPIO_MODE_OUTPUT_PP;
  GPIO_InitStruct.Pull = GPIO_NOPULL;
  GPIO_InitStruct.Speed = GPIO_SPEED_FREQ_LOW;
  HAL_GPIO_Init(GPIOA, &GPIO_InitStruct);

  /*Configure GPIO pin : ARD_D7_Pin */
  GPIO_InitStruct.Pin = ARD_D7_Pin;
  GPIO_InitStruct.Mode = GPIO_MODE_ANALOG_ADC_CONTROL;
  GPIO_InitStruct.Pull = GPIO_NOPULL;
  HAL_GPIO_Init(ARD_D7_GPIO_Port, &GPIO_InitStruct);

  /*Configure GPIO pins : ARD_D13_Pin ARD_D12_Pin ARD_D11_Pin */
  GPIO_InitStruct.Pin = ARD_D13_Pin|ARD_D12_Pin|ARD_D11_Pin;
  GPIO_InitStruct.Mode = GPIO_MODE_AF_PP;
  GPIO_InitStruct.Pull = GPIO_NOPULL;
  GPIO_InitStruct.Speed = GPIO_SPEED_FREQ_VERY_HIGH;
  GPIO_InitStruct.Alternate = GPIO_AF5_SPI1;
  HAL_GPIO_Init(GPIOA, &GPIO_InitStruct);

  /*Configure GPIO pin : ARD_D3_Pin */
  GPIO_InitStruct.Pin = ARD_D3_Pin;
  GPIO_InitStruct.Mode = GPIO_MODE_IT_RISING;
  GPIO_InitStruct.Pull = GPIO_NOPULL;
  HAL_GPIO_Init(ARD_D3_GPIO_Port, &GPIO_InitStruct);

  /*Configure GPIO pin : ARD_D6_Pin */
  GPIO_InitStruct.Pin = ARD_D6_Pin;
  GPIO_InitStruct.Mode = GPIO_MODE_ANALOG_ADC_CONTROL;
  GPIO_InitStruct.Pull = GPIO_NOPULL;
  HAL_GPIO_Init(ARD_D6_GPIO_Port, &GPIO_InitStruct);

  /*Configure GPIO pins : ARD_D8_Pin ISM43362_BOOT0_Pin ISM43362_WAKEUP_Pin LED2_Pin
                           SPSGRF_915_SDN_Pin ARD_D5_Pin SPSGRF_915_SPI3_CSN_Pin */
  GPIO_InitStruct.Pin = ARD_D8_Pin|ISM43362_BOOT0_Pin|ISM43362_WAKEUP_Pin|LED2_Pin
                          |SPSGRF_915_SDN_Pin|ARD_D5_Pin|SPSGRF_915_SPI3_CSN_Pin;
  GPIO_InitStruct.Mode = GPIO_MODE_OUTPUT_PP;
  GPIO_InitStruct.Pull = GPIO_NOPULL;
  GPIO_InitStruct.Speed = GPIO_SPEED_FREQ_LOW;
  HAL_GPIO_Init(GPIOB, &GPIO_InitStruct);

  /*Configure GPIO pins : LPS22HB_INT_DRDY_EXTI0_Pin LSM6DSL_INT1_EXTI11_Pin ARD_D2_Pin HTS221_DRDY_EXTI15_Pin
                           PMOD_IRQ_EXTI12_Pin */
  GPIO_InitStruct.Pin = LPS22HB_INT_DRDY_EXTI0_Pin|LSM6DSL_INT1_EXTI11_Pin|ARD_D2_Pin|HTS221_DRDY_EXTI15_Pin
                          |PMOD_IRQ_EXTI12_Pin;
  GPIO_InitStruct.Mode = GPIO_MODE_IT_RISING;
  GPIO_InitStruct.Pull = GPIO_NOPULL;
  HAL_GPIO_Init(GPIOD, &GPIO_InitStruct);

  /*Configure GPIO pins : USB_OTG_FS_PWR_EN_Pin SPBTLE_RF_SPI3_CSN_Pin PMOD_RESET_Pin STSAFE_A100_RESET_Pin */
  GPIO_InitStruct.Pin = USB_OTG_FS_PWR_EN_Pin|SPBTLE_RF_SPI3_CSN_Pin|PMOD_RESET_Pin|STSAFE_A100_RESET_Pin;
  GPIO_InitStruct.Mode = GPIO_MODE_OUTPUT_PP;
  GPIO_InitStruct.Pull = GPIO_NOPULL;
  GPIO_InitStruct.Speed = GPIO_SPEED_FREQ_LOW;
  HAL_GPIO_Init(GPIOD, &GPIO_InitStruct);

  /*Configure GPIO pins : VL53L0X_XSHUT_Pin LED3_WIFI__LED4_BLE_Pin */
  GPIO_InitStruct.Pin = VL53L0X_XSHUT_Pin|LED3_WIFI__LED4_BLE_Pin;
  GPIO_InitStruct.Mode = GPIO_MODE_OUTPUT_PP;
  GPIO_InitStruct.Pull = GPIO_NOPULL;
  GPIO_InitStruct.Speed = GPIO_SPEED_FREQ_LOW;
  HAL_GPIO_Init(GPIOC, &GPIO_InitStruct);

  /*Configure GPIO pins : VL53L0X_GPIO1_EXTI7_Pin LSM3MDL_DRDY_EXTI8_Pin */
  GPIO_InitStruct.Pin = VL53L0X_GPIO1_EXTI7_Pin|LSM3MDL_DRDY_EXTI8_Pin;
  GPIO_InitStruct.Mode = GPIO_MODE_IT_RISING;
  GPIO_InitStruct.Pull = GPIO_NOPULL;
  HAL_GPIO_Init(GPIOC, &GPIO_InitStruct);

  /*Configure GPIO pin : PMOD_SPI2_SCK_Pin */
  GPIO_InitStruct.Pin = PMOD_SPI2_SCK_Pin;
  GPIO_InitStruct.Mode = GPIO_MODE_AF_PP;
  GPIO_InitStruct.Pull = GPIO_NOPULL;
  GPIO_InitStruct.Speed = GPIO_SPEED_FREQ_VERY_HIGH;
  GPIO_InitStruct.Alternate = GPIO_AF5_SPI2;
  HAL_GPIO_Init(PMOD_SPI2_SCK_GPIO_Port, &GPIO_InitStruct);

  /*Configure GPIO pins : PMOD_UART2_CTS_Pin PMOD_UART2_RTS_Pin PMOD_UART2_TX_Pin PMOD_UART2_RX_Pin */
  GPIO_InitStruct.Pin = PMOD_UART2_CTS_Pin|PMOD_UART2_RTS_Pin|PMOD_UART2_TX_Pin|PMOD_UART2_RX_Pin;
  GPIO_InitStruct.Mode = GPIO_MODE_AF_PP;
  GPIO_InitStruct.Pull = GPIO_NOPULL;
  GPIO_InitStruct.Speed = GPIO_SPEED_FREQ_VERY_HIGH;
  GPIO_InitStruct.Alternate = GPIO_AF7_USART2;
  HAL_GPIO_Init(GPIOD, &GPIO_InitStruct);

  /*Configure GPIO pins : ARD_D15_Pin ARD_D14_Pin */
  GPIO_InitStruct.Pin = ARD_D15_Pin|ARD_D14_Pin;
  GPIO_InitStruct.Mode = GPIO_MODE_AF_OD;
  GPIO_InitStruct.Pull = GPIO_NOPULL;
  GPIO_InitStruct.Speed = GPIO_SPEED_FREQ_VERY_HIGH;
  GPIO_InitStruct.Alternate = GPIO_AF4_I2C1;
  HAL_GPIO_Init(GPIOB, &GPIO_InitStruct);

  /* EXTI interrupt init*/
  HAL_NVIC_SetPriority(EXTI1_IRQn, 4, 0);
  HAL_NVIC_EnableIRQ(EXTI1_IRQn);

  HAL_NVIC_SetPriority(EXTI9_5_IRQn, 4, 0);
  HAL_NVIC_EnableIRQ(EXTI9_5_IRQn);

  HAL_NVIC_SetPriority(EXTI15_10_IRQn, 4, 0);
  HAL_NVIC_EnableIRQ(EXTI15_10_IRQn);

}

/* USER CODE BEGIN 4 */
static int wifi_start(void)
{
  uint8_t  MAC_Addr[6];

 /*Initialize and use WIFI module */
  if(WIFI_Init() ==  WIFI_STATUS_OK)
  {
    LOG(("ES-WIFI Initialized.\n"));
    if(WIFI_GetMAC_Address(MAC_Addr, sizeof(MAC_Addr)) == WIFI_STATUS_OK)
    {
      LOG(("> eS-WiFi module MAC Address : %02X:%02X:%02X:%02X:%02X:%02X\n",
               MAC_Addr[0],
               MAC_Addr[1],
               MAC_Addr[2],
               MAC_Addr[3],
               MAC_Addr[4],
               MAC_Addr[5]));
    }
    else
    {
      LOG(("> ERROR : CANNOT get MAC address\n"));
      return -1;
    }
  }
  else
  {
    return -1;
  }
  return 0;
}

int wifi_connect(void)
{

  wifi_start();

  LOG(("\nConnecting to %s , %s\n",SSID,PASSWORD));
  if( WIFI_Connect(SSID, PASSWORD, WIFI_ECN_WPA2_PSK) == WIFI_STATUS_OK)
  {
    if(WIFI_GetIP_Address(IP_Addr, sizeof(IP_Addr)) == WIFI_STATUS_OK)
    {
      LOG(("> es-wifi module connected: got IP Address : %d.%d.%d.%d\n",
               IP_Addr[0],
               IP_Addr[1],
               IP_Addr[2],
               IP_Addr[3]));
    }
    else
    {
		  LOG((" ERROR : es-wifi module CANNOT get IP address\n"));
      return -1;
    }
  }
  else
  {
		 LOG(("ERROR : es-wifi module NOT connected\n"));
     return -1;
  }
  return 0;
}

int wifi_server(void)
{
  bool StopServer = false;

  LOG(("\nRunning HTML Server test\n"));
  if (wifi_connect()!=0) return -1;

  if (WIFI_STATUS_OK!=WIFI_StartServer(SOCKET, WIFI_TCP_PROTOCOL, 1, "", PORT))
  {
    LOG(("ERROR: Cannot start server.\n"));
  }

  LOG(("Server is running and waiting for an HTTP  Client connection to %d.%d.%d.%d\n",IP_Addr[0],IP_Addr[1],IP_Addr[2],IP_Addr[3]));

  do
  {
    uint8_t RemoteIP[4];
    uint16_t RemotePort;

    while (WIFI_STATUS_OK != WIFI_WaitServerConnection(SOCKET,1000,RemoteIP,sizeof(RemoteIP), &RemotePort))
    {
        LOG(("Waiting connection to  %d.%d.%d.%d\n",IP_Addr[0],IP_Addr[1],IP_Addr[2],IP_Addr[3]));
        HAL_Delay(500);
    }

    LOG(("Client connected %d.%d.%d.%d:%d\n",RemoteIP[0],RemoteIP[1],RemoteIP[2],RemoteIP[3],RemotePort));

    StopServer=WebServerProcess();

    if(WIFI_CloseServerConnection(SOCKET) != WIFI_STATUS_OK)
    {
      LOG(("ERROR: failed to close current Server connection\n"));
      return -1;
    }

  }
  while(StopServer == false);

  if (WIFI_STATUS_OK!=WIFI_StopServer(SOCKET))
  {
    LOG(("ERROR: Cannot stop server.\n"));
  }

  LOG(("Server is stop\n"));
  return 0;
}

static bool WebServerProcess(void)
{
    uint16_t respLen;
    static uint8_t resp[1024];
    bool stopserver = false;

    if(WIFI_ReceiveData(SOCKET, resp, sizeof(resp)-1, &respLen, WIFI_READ_TIMEOUT) != WIFI_STATUS_OK)
        return stopserver;

    if(respLen == 0)
        return stopserver;

    resp[respLen] = 0;
    char *request = (char*)resp;

    if(strstr(request, "GET") != NULL)
    {
        SendWebPage(state);
    }
    else if(strstr(request, "POST") != NULL)
    {
        char *body = strstr(request, "\r\n\r\n");
        if (body)
        {
            body += 4;

            char pin[7] = {0};
            char *pin_pos = strstr(body, "pin=");
            if (pin_pos)
            {
                pin_pos += 4;
                strncpy(pin, pin_pos, 6);

                if (strcmp(pin, "123456") == 0)
                {
                    state = 0;   // DISARM
                    timed_out = 0;	// Disable timeout
                    HAL_TIM_PWM_Stop(&htim2, TIM_CHANNEL_1); //Stop PWM
                    HAL_TIM_Base_Stop_IT(&htim7); //Stop One-Shot timer
                    HAL_TIM_Base_Stop_IT(&htim16); //Stop LED timer
                    osThreadFlagsSet(myTask03Handle, FLAG3); //Let the rest of Task 03 run
                }
            }
        }

        SendWebPage(state);
    }

    return stopserver;
}

static WIFI_Status_t SendWebPage(uint32_t state)
{
    uint16_t SentDataLength;
    WIFI_Status_t ret;

    // Build HTTP header
    strcpy((char *)http, "HTTP/1.0 200 OK\r\nContent-Type: text/html\r\nPragma: no-cache\r\n\r\n");

    // Start HTML
    strcat((char *)http, "<html>\r\n<body>\r\n");
    strcat((char *)http, "<title>Home Security System</title>\r\n");
    strcat((char *)http, "<h2>Home Security System</h2>\r\n");
    strcat((char *)http, "<br /><hr>\r\n");

    // Status span
    if(state == 0)
    {
        strcat((char *)http, "<p>Status: <span id=\"status\">Disarmed</span></p>");
    }
    else
    {
        strcat((char *)http, "<p>Status: <span id=\"status\">Armed</span></p>");

        // Add PIN input only if Armed
        strcat((char *)http,
            "<form method=\"POST\">\n"
            "  <label for=\"pin\">Enter Code:</label>\n"
            "  <input type=\"password\" id=\"pin\" name=\"pin\" maxlength=\"6\">\n"
            "  <input type=\"submit\" value=\"Submit\">\n"
            "</form>\n"
        );
    }

    // End HTML
    strcat((char *)http, "</body>\r\n</html>\r\n");

    // Send over Wi-Fi
    ret = WIFI_SendData(0, (uint8_t *)http, strlen((char *)http), &SentDataLength, WIFI_WRITE_TIMEOUT);

    if((ret == WIFI_STATUS_OK) && (SentDataLength != strlen((char *)http)))
    {
        ret = WIFI_STATUS_ERROR;
    }

    return ret;
}

#if defined (TERMINAL_USE)
/**
* @brief Retargets the C library printf function to the USART.
* @param None
* @retval None
*/
PUTCHAR_PROTOTYPE
{
	/* Place your implementation of fputc here */
	/* e.g. write a character to the USART1 and Loop until the end of
	transmission */
	HAL_UART_Transmit(&huart1, (uint8_t *)&ch, 1, 0xFFFF);
	return ch;
}
#endif /* TERMINAL_USE */

#ifdef USE_FULL_ASSERT

/**
   * @brief Reports the name of the source file and the source line number
   * where the assert_param error has occurred.
   * @param file: pointer to the source file name
   * @param line: assert_param error line source number
   * @retval None
   */
void assert_failed(uint8_t* file, uint32_t line)
{
  /* USER CODE BEGIN 6 */
  /* User can add his own implementation to report the file name and line number,
    ex: printf("Wrong parameters value: file %s on line %d\r\n", file, line) */
  /* USER CODE END 6 */

}

#endif

void HAL_GPIO_EXTI_Callback(uint16_t GPIO_Pin)
	{
	switch (GPIO_Pin)
		{
		case (GPIO_PIN_1):
		{
			SPI_WIFI_ISR();
			break;
		}
		case (GPIO_PIN_13):
			//On button press, defer processing to task 02
			osThreadFlagsSet(myTask02Handle, FLAG4);
			break;
		default:
		{
			break;
		}
	}
}

void SPI3_IRQHandler(void)
{
	/* USER CODE BEGIN SPI3_IRQn 0 */
	//
	/* USER CODE END SPI3_IRQn 0 */
	HAL_SPI_IRQHandler(&hspi);
	/* USER CODE BEGIN SPI3_IRQn 1 */
	//
	/* USER CODE END SPI3_IRQn 1 */
}
/* USER CODE END 4 */

void StartDefaultTask(void *argument)
{
  /* USER CODE BEGIN 5 */
  /* Infinite loop */
  for(;;)
  {
	  uint8_t buffer[40] = "Starting wifi in default task";
	  HAL_UART_Transmit(&huart1, buffer, sizeof(buffer), 100);
	  wifi_server();
	  osDelay(2000);
  }
  /* USER CODE END 5 */
}

void StartTask02(void *argument)
{
  /* USER CODE BEGIN StartTask02 */
	// A task that implements a state machine to control the states of the system
	//A task for setting up the timer to control LED delays
  /* Infinite loop */
  for(;;)
  {
	  //xSemaphoreTake(sem, portMAX_DELAY);
	  osThreadFlagsWait(FLAG4, osFlagsWaitAny, osWaitForever);

	  switch(state){
	  	  case 0:
	  		  state = 1;
	  		  HAL_TIM_Base_Start_IT(&htim16);
	  		  break;
	  	  case 1:
	  		  state = 0;
	  		  timed_out = 0;
	  		  HAL_TIM_PWM_Stop(&htim2, TIM_CHANNEL_1);
	  		  HAL_TIM_Base_Stop_IT(&htim7);
	  		  HAL_TIM_Base_Stop_IT(&htim16);
	  		  break;
	  	  default:
	  		  break;
	  }

	  SendSSEUpdate();
  }
  /* USER CODE END StartTask02 */
}

void StartTask03(void *argument)
{
  /* USER CODE BEGIN StartTask03 */
  /* Infinite loop */
  for(;;)
  {
	//When ultrasonic sensor detects, start 10 second one shot timer
	osThreadFlagsWait(FLAG1, osFlagsWaitAny, osWaitForever);

	//Start hardware one shot timer
	__HAL_TIM_CLEAR_FLAG(&htim7, TIM_FLAG_UPDATE);
	__HAL_TIM_SET_COUNTER(&htim7, 0);
	HAL_TIM_Base_Start_IT(&htim7);

	osThreadFlagsWait(FLAG3, osFlagsWaitAny, osWaitForever);

	//If timed out, start buzzer
	if (timed_out && state){
		HAL_TIM_PWM_Start(&htim2, TIM_CHANNEL_1);
	}
  }
  /* USER CODE END StartTask03 */
}

void StartTask04(void *argument)
{
  /* USER CODE BEGIN StartTask04 */
	//A task to determine if somebody has approached the ultrasonic sensor
	uint8_t buffer[20];
  /* Infinite loop */
  for(;;)
  {
	if (state){
		osKernelLock();
		HAL_GPIO_WritePin(GPIOA, GPIO_PIN_0, GPIO_PIN_RESET);
		HAL_Delay(2);

		HAL_GPIO_WritePin(GPIOA, GPIO_PIN_0, GPIO_PIN_SET);
		HAL_Delay(10);
		HAL_GPIO_WritePin(GPIOA, GPIO_PIN_0, GPIO_PIN_RESET);
		osKernelUnlock();

		__HAL_TIM_ENABLE_IT(&htim5, TIM_IT_CC1);

		osThreadFlagsWait(FLAG2, osFlagsWaitAny, osWaitForever);
		snprintf((char*)buffer, sizeof(buffer), "Distance(cm): %u\r\n", (unsigned)Distance);
		HAL_UART_Transmit(&huart1, buffer, sizeof(buffer), HAL_MAX_DELAY);

		if (Distance < 20){
			osThreadFlagsSet(myTask03Handle, FLAG1);
		}
	}

	HAL_Delay(1000);
  }
  /* USER CODE END StartTask04 */
}

void HAL_TIM_PeriodElapsedCallback(TIM_HandleTypeDef *htim)
{
  if (htim->Instance == TIM6)
  {
    HAL_IncTick();
  }
  /* USER CODE BEGIN Callback 1 */
  if (htim->Instance == TIM7)
  {
          timed_out = 1;
          HAL_TIM_Base_Stop_IT(&htim7);
          osThreadFlagsSet(myTask03Handle, FLAG3);

   }
  if (htim->Instance == TIM16){
	  HAL_GPIO_TogglePin(GPIOB, GPIO_PIN_14);
  }
  /* USER CODE END Callback 1 */
}

void Error_Handler(void)
{
  __disable_irq();
  while (1)
  {
  }
}
